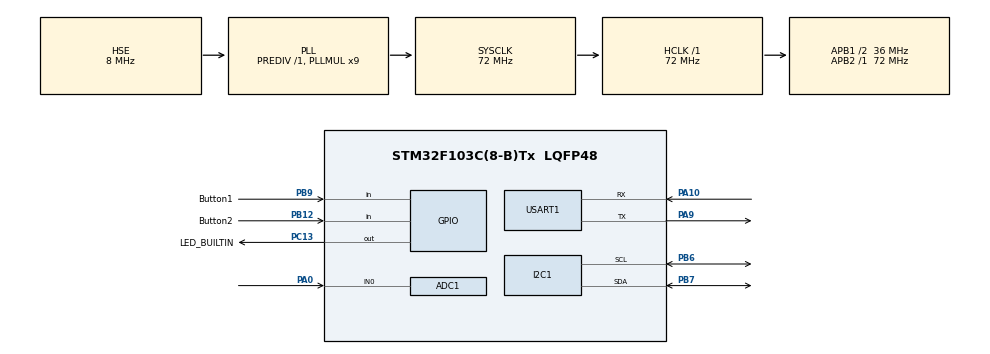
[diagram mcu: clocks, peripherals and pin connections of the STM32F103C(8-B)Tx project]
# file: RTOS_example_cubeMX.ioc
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ADC1.Channel-2\#ChannelRegularConversion=ADC_CHANNEL_0
ADC1.ContinuousConvMode=DISABLE
ADC1.DiscontinuousConvMode=DISABLE
ADC1.EnableRegularConversion=ENABLE
ADC1.NbrOfConversion=1
ADC1.NbrOfConversionFlag=1
ADC1.Rank-2\#ChannelRegularConversion=1
ADC1.SamplingTime-2\#ChannelRegularConversion=ADC_SAMPLETIME_28CYCLES_5
ADC1.master=1
FREERTOS.Tasks01=defaultTask,24,128,StartDefaultTask,Default,NULL,Dynamic,NULL,NULL;pickButtonTask,24,128,pickButton,Default,NULL,Dynamic,NULL,NULL;getADCTask,32,128,getADC,Default,NULL,Dynamic,NULL,NULL;dispOLEDTask,24,128,dispOLED,Default,NULL,Dynamic,NULL,NULL;dispUARTTask,24,128,dispUART,Default,NULL,Dynamic,NULL,NULL
FREERTOS.configTOTAL_HEAP_SIZE=3600
I2C1.I2C_Mode=I2C_Fast
Mcu.Family=STM32F1
Mcu.Name=STM32F103C(8-B)Tx
Mcu.Package=LQFP48
NVIC.PriorityGroup=NVIC_PRIORITYGROUP_4
NVIC.TIM4_IRQn=true\:0\:0\:false\:false\:true\:false\:false\:true
NVIC.TimeBase=TIM4_IRQn
NVIC.TimeBaseIP=TIM4
PA0-WKUP.Signal=ADCx_IN0
PA10.Mode=Asynchronous
PA10.Signal=USART1_RX
PA9.Mode=Asynchronous
PA9.Signal=USART1_TX
PB12.GPIO_Label=Button2
PB12.Signal=GPIO_Input
PB6.Mode=I2C
PB6.Signal=I2C1_SCL
PB7.Mode=I2C
PB7.Signal=I2C1_SDA
PB9.GPIO_Label=Button1
PB9.Signal=GPIO_Input
PC13-TAMPER-RTC.GPIO_Label=LED_BUILTIN
PC13-TAMPER-RTC.Signal=GPIO_Output
PD0-OSC_IN.Mode=HSE-External-Oscillator
PD0-OSC_IN.Signal=RCC_OSC_IN
PD1-OSC_OUT.Mode=HSE-External-Oscillator
PD1-OSC_OUT.Signal=RCC_OSC_OUT
ProjectManager.HeapSize=0x200
ProjectManager.StackSize=0x400
ProjectManager.TargetToolchain=STM32CubeIDE
RCC.ADCPresc=RCC_ADCPCLK2_DIV6
RCC.AHBFreq_Value=72000000
RCC.APB1CLKDivider=RCC_HCLK_DIV2
RCC.APB1Freq_Value=36000000
RCC.APB1TimFreq_Value=72000000
RCC.APB2Freq_Value=72000000
RCC.APB2TimFreq_Value=72000000
RCC.HCLKFreq_Value=72000000
RCC.PLLMUL=RCC_PLL_MUL9
RCC.PLLSourceVirtual=RCC_PLLSOURCE_HSE
RCC.SYSCLKFreq_VALUE=72000000
RCC.SYSCLKSource=RCC_SYSCLKSOURCE_PLLCLK
RCC.USBFreq_Value=72000000
SH.ADCx_IN0.0=ADC1_IN0,IN0
USART1.VirtualMode=VM_ASYNC
VP_FREERTOS_VS_CMSIS_V2.Mode=CMSIS_V2
VP_SYS_VS_ND.Mode=No_Debug
VP_SYS_VS_tim4.Mode=TIM4
board=custom

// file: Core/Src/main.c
/* USER CODE BEGIN Header */
/**
  ******************************************************************************
 * main.c
 * author:  Jonathan Burkley Rodriguez <superryuboy@yahoo.com>
	for Phipp's Electronics

	SSD1306 code:
 * original author:  Tilen Majerle<tilen@majerle.eu>
 * modification for STM32f10x: Alexander Lutsai<s.lyra@ya.ru>

   ----------------------------------------------------------------------
   	Copyright (C) Alexander Lutsai, 2016
    Copyright (C) Tilen Majerle, 2015

   ----------------------------------------------------------------------

    This program is free software: you can redistribute it and/or modify
    it under the terms of the GNU General Public License as published by
    the Free Software Foundation, either version 3 of the License, or
    any later version.

    This program is distributed in the hope that it will be useful,
    but WITHOUT ANY WARRANTY; without even the implied warranty of
    MERCHANTABILITY or FITNESS FOR A PARTICULAR PURPOSE.  See the
    GNU General Public License for more details.

    You should have received a copy of the GNU General Public License
    along with this program.  If not, see <http://www.gnu.org/licenses/>.
  ******************************************************************************
  */
/* USER CODE END Header */
#include "main.h"
#include "cmsis_os.h"

/* USER CODE BEGIN Includes */
#include <stdio.h>
#include "fonts.h"
#include "ssd1306.h"
//#include "test.h"
#include "bitmap.h"
//#include "horse_anim.h"
/* USER CODE END Includes */

ADC_HandleTypeDef hadc1;

I2C_HandleTypeDef hi2c1;

UART_HandleTypeDef huart1;

/* Definitions for defaultTask */
osThreadId_t defaultTaskHandle;
const osThreadAttr_t defaultTask_attributes = {
  .name = "defaultTask",
  .priority = (osPriority_t) osPriorityNormal,
  .stack_size = 128 * 4
};
/* Definitions for pickButtonTask */
osThreadId_t pickButtonTaskHandle;
const osThreadAttr_t pickButtonTask_attributes = {
  .name = "pickButtonTask",
  .priority = (osPriority_t) osPriorityNormal,
  .stack_size = 128 * 4
};
/* Definitions for getADCTask */
osThreadId_t getADCTaskHandle;
const osThreadAttr_t getADCTask_attributes = {
  .name = "getADCTask",
  .priority = (osPriority_t) osPriorityAboveNormal,
  .stack_size = 128 * 4
};
/* Definitions for dispOLEDTask */
osThreadId_t dispOLEDTaskHandle;
const osThreadAttr_t dispOLEDTask_attributes = {
  .name = "dispOLEDTask",
  .priority = (osPriority_t) osPriorityNormal,
  .stack_size = 128 * 4
};
/* Definitions for dispUARTTask */
osThreadId_t dispUARTTaskHandle;
const osThreadAttr_t dispUARTTask_attributes = {
  .name = "dispUARTTask",
  .priority = (osPriority_t) osPriorityNormal,
  .stack_size = 128 * 4
};
/* USER CODE BEGIN PV */
uint32_t x_val;
uint8_t choice;
char buffer[50];

volatile int button1_pressed = 0;
volatile int button2_pressed = 0;

/* USER CODE END PV */

void SystemClock_Config(void);
static void MX_GPIO_Init(void);
static void MX_ADC1_Init(void);
static void MX_I2C1_Init(void);
static void MX_USART1_UART_Init(void);
void StartDefaultTask(void *argument);
void pickButton(void *argument);
void getADC(void *argument);
void dispOLED(void *argument);
void dispUART(void *argument);

/* USER CODE BEGIN PFP */
void Menu_Display(void);
/* USER CODE END PFP */

int main(void)
{

  /* MCU Configuration--------------------------------------------------------*/

  /* Reset of all peripherals, Initializes the Flash interface and the Systick. */
  HAL_Init();

  /* USER CODE BEGIN Init */

	  // initialise
  /* USER CODE END Init */

  /* Configure the system clock */
  SystemClock_Config();

  /* Initialize all configured peripherals */
  MX_GPIO_Init();
  MX_ADC1_Init();
  MX_I2C1_Init();
  MX_USART1_UART_Init();
  /* USER CODE BEGIN 2 */

  SSD1306_Init();
  SSD1306_Clear();
  SSD1306_UpdateScreen();

  SSD1306_GotoXY (0,0);
  SSD1306_Puts ("HELLO", &Font_11x18, 1);
  SSD1306_GotoXY (10, 30);
  SSD1306_Puts ("  WORLD :)", &Font_11x18, 1);
  SSD1306_UpdateScreen(); //display

  HAL_Delay(2000);

  /* USER CODE END 2 */

  /* Init scheduler */
  osKernelInitialize();

  /* Create the thread(s) */
  /* creation of defaultTask */
  defaultTaskHandle = osThreadNew(StartDefaultTask, NULL, &defaultTask_attributes);

  /* creation of pickButtonTask */
  pickButtonTaskHandle = osThreadNew(pickButton, NULL, &pickButtonTask_attributes);

  /* creation of getADCTask */
  getADCTaskHandle = osThreadNew(getADC, NULL, &getADCTask_attributes);

  /* creation of dispOLEDTask */
  dispOLEDTaskHandle = osThreadNew(dispOLED, NULL, &dispOLEDTask_attributes);

  /* creation of dispUARTTask */
  dispUARTTaskHandle = osThreadNew(dispUART, NULL, &dispUARTTask_attributes);

  /* Start scheduler */
  osKernelStart();

  /* We should never get here as control is now taken by the scheduler */
  /* Infinite loop */
  while (1)
  {

  }
}

void SystemClock_Config(void)
{
  RCC_OscInitTypeDef RCC_OscInitStruct = {0};
  RCC_ClkInitTypeDef RCC_ClkInitStruct = {0};
  RCC_PeriphCLKInitTypeDef PeriphClkInit = {0};

  /** Initializes the RCC Oscillators according to the specified parameters
  * in the RCC_OscInitTypeDef structure.
  */
  RCC_OscInitStruct.OscillatorType = RCC_OSCILLATORTYPE_HSE;
  RCC_OscInitStruct.HSEState = RCC_HSE_ON;
  RCC_OscInitStruct.HSEPredivValue = RCC_HSE_PREDIV_DIV1;
  RCC_OscInitStruct.HSIState = RCC_HSI_ON;
  RCC_OscInitStruct.PLL.PLLState = RCC_PLL_ON;
  RCC_OscInitStruct.PLL.PLLSource = RCC_PLLSOURCE_HSE;
  RCC_OscInitStruct.PLL.PLLMUL = RCC_PLL_MUL9;
  if (HAL_RCC_OscConfig(&RCC_OscInitStruct) != HAL_OK)
  {
    Error_Handler();
  }
  /** Initializes the CPU, AHB and APB buses clocks
  */
  RCC_ClkInitStruct.ClockType = RCC_CLOCKTYPE_HCLK|RCC_CLOCKTYPE_SYSCLK
                              |RCC_CLOCKTYPE_PCLK1|RCC_CLOCKTYPE_PCLK2;
  RCC_ClkInitStruct.SYSCLKSource = RCC_SYSCLKSOURCE_PLLCLK;
  RCC_ClkInitStruct.AHBCLKDivider = RCC_SYSCLK_DIV1;
  RCC_ClkInitStruct.APB1CLKDivider = RCC_HCLK_DIV2;
  RCC_ClkInitStruct.APB2CLKDivider = RCC_HCLK_DIV1;

  if (HAL_RCC_ClockConfig(&RCC_ClkInitStruct, FLASH_LATENCY_2) != HAL_OK)
  {
    Error_Handler();
  }
  PeriphClkInit.PeriphClockSelection = RCC_PERIPHCLK_ADC;
  PeriphClkInit.AdcClockSelection = RCC_ADCPCLK2_DIV6;
  if (HAL_RCCEx_PeriphCLKConfig(&PeriphClkInit) != HAL_OK)
  {
    Error_Handler();
  }
}

static void MX_ADC1_Init(void)
{

  ADC_ChannelConfTypeDef sConfig = {0};

  /** Common config
  */
  hadc1.Instance = ADC1;
  hadc1.Init.ScanConvMode = ADC_SCAN_DISABLE;
  hadc1.Init.ContinuousConvMode = DISABLE;
  hadc1.Init.DiscontinuousConvMode = DISABLE;
  hadc1.Init.ExternalTrigConv = ADC_SOFTWARE_START;
  hadc1.Init.DataAlign = ADC_DATAALIGN_RIGHT;
  hadc1.Init.NbrOfConversion = 1;
  if (HAL_ADC_Init(&hadc1) != HAL_OK)
  {
    Error_Handler();
  }
  /** Configure Regular Channel
  */
  sConfig.Channel = ADC_CHANNEL_0;
  sConfig.Rank = ADC_REGULAR_RANK_1;
  sConfig.SamplingTime = ADC_SAMPLETIME_28CYCLES_5;
  if (HAL_ADC_ConfigChannel(&hadc1, &sConfig) != HAL_OK)
  {
    Error_Handler();
  }

}

static void MX_I2C1_Init(void)
{

  hi2c1.Instance = I2C1;
  hi2c1.Init.ClockSpeed = 400000;
  hi2c1.Init.DutyCycle = I2C_DUTYCYCLE_2;
  hi2c1.Init.OwnAddress1 = 0;
  hi2c1.Init.AddressingMode = I2C_ADDRESSINGMODE_7BIT;
  hi2c1.Init.DualAddressMode = I2C_DUALADDRESS_DISABLE;
  hi2c1.Init.OwnAddress2 = 0;
  hi2c1.Init.GeneralCallMode = I2C_GENERALCALL_DISABLE;
  hi2c1.Init.NoStretchMode = I2C_NOSTRETCH_DISABLE;
  if (HAL_I2C_Init(&hi2c1) != HAL_OK)
  {
    Error_Handler();
  }

}

static void MX_USART1_UART_Init(void)
{

  huart1.Instance = USART1;
  huart1.Init.BaudRate = 115200;
  huart1.Init.WordLength = UART_WORDLENGTH_8B;
  huart1.Init.StopBits = UART_STOPBITS_1;
  huart1.Init.Parity = UART_PARITY_NONE;
  huart1.Init.Mode = UART_MODE_TX_RX;
  huart1.Init.HwFlowCtl = UART_HWCONTROL_NONE;
  huart1.Init.OverSampling = UART_OVERSAMPLING_16;
  if (HAL_UART_Init(&huart1) != HAL_OK)
  {
    Error_Handler();
  }

}

static void MX_GPIO_Init(void)
{
  GPIO_InitTypeDef GPIO_InitStruct = {0};

  /* GPIO Ports Clock Enable */
  __HAL_RCC_GPIOC_CLK_ENABLE();
  __HAL_RCC_GPIOD_CLK_ENABLE();
  __HAL_RCC_GPIOA_CLK_ENABLE();
  __HAL_RCC_GPIOB_CLK_ENABLE();

  /*Configure GPIO pin Output Level */
  HAL_GPIO_WritePin(LED_BUILTIN_GPIO_Port, LED_BUILTIN_Pin, GPIO_PIN_RESET);

  /*Configure GPIO pin : LED_BUILTIN_Pin */
  GPIO_InitStruct.Pin = LED_BUILTIN_Pin;
  GPIO_InitStruct.Mode = GPIO_MODE_OUTPUT_PP;
  GPIO_InitStruct.Pull = GPIO_NOPULL;
  GPIO_InitStruct.Speed = GPIO_SPEED_FREQ_LOW;
  HAL_GPIO_Init(LED_BUILTIN_GPIO_Port, &GPIO_InitStruct);

  /*Configure GPIO pins : Button2_Pin Button1_Pin */
  GPIO_InitStruct.Pin = Button2_Pin|Button1_Pin;
  GPIO_InitStruct.Mode = GPIO_MODE_INPUT;
  GPIO_InitStruct.Pull = GPIO_NOPULL;
  HAL_GPIO_Init(GPIOB, &GPIO_InitStruct);

}

/* USER CODE BEGIN 4 */

void Menu_Display(void)
{
	uint8_t menu_1[] = "\r\n1. Voltage monitor read\r\n";
	uint8_t menu_2[] = "2. Re-display Menu\r\n\r\n";

	HAL_UART_Transmit(&huart1, menu_1, sizeof(menu_1), 10);
	HAL_UART_Transmit(&huart1, menu_2, sizeof(menu_2), 10);

}

/* USER CODE END 4 */

void StartDefaultTask(void *argument)
{
  for(;;)
  {
    osDelay(1);
  }
}

void pickButton(void *argument)
{
  /* USER CODE BEGIN pickButton */
  /* Infinite loop */
  for(;;)
  {

	  if(HAL_GPIO_ReadPin(Button1_GPIO_Port, Button1_Pin) == GPIO_PIN_RESET)
	  {
		  osDelay(300);	// debounce
		  button1_pressed = 1;
	  }

	  if(HAL_GPIO_ReadPin(Button2_GPIO_Port, Button2_Pin) == GPIO_PIN_RESET)
	  {
		  osDelay(300);	// debounce
		  button2_pressed = 1;
	  }

    osDelay(100);
  }
  /* USER CODE END pickButton */
}

void getADC(void *argument)
{
  /* USER CODE BEGIN getADC */
  /* Infinite loop */
  for(;;)
  {

	  HAL_ADC_Start(&hadc1);
	  HAL_ADC_PollForConversion(&hadc1, 10);
	  x_val = (HAL_ADC_GetValue(&hadc1));
	  HAL_ADC_Stop(&hadc1);

	  // process ADC values here

    osDelay(100);
  }
  /* USER CODE END getADC */
}

void dispOLED(void *argument)
{
  /* USER CODE BEGIN dispOLED */
	  SSD1306_Clear();
	  SSD1306_UpdateScreen();
  /* Infinite loop */
  for(;;)
  {

	  SSD1306_GotoXY (0,0);
	  sprintf(buffer, "ADC=%d      ", x_val);
	  SSD1306_Puts (buffer, &Font_11x18, 1);
	  SSD1306_UpdateScreen(); //display
	  //osDelay(100);
  }
  /* USER CODE END dispOLED */
}

void dispUART(void *argument)
{
  for(;;)
  {
    osDelay(1);
  }
}

 /**
  * @brief  Period elapsed callback in non blocking mode
  * @note   This function is called  when TIM4 interrupt took place, inside
  * HAL_TIM_IRQHandler(). It makes a direct call to HAL_IncTick() to increment
  * a global variable "uwTick" used as application time base.
  * @param  htim : TIM handle
  * @retval None
  */
void HAL_TIM_PeriodElapsedCallback(TIM_HandleTypeDef *htim)
{
  if (htim->Instance == TIM4) {
    HAL_IncTick();
  }
}

void Error_Handler(void)
{
  __disable_irq();
  while (1)
  {
  }
}

/************************ (C) COPYRIGHT STMicroelectronics *****END OF FILE****/
